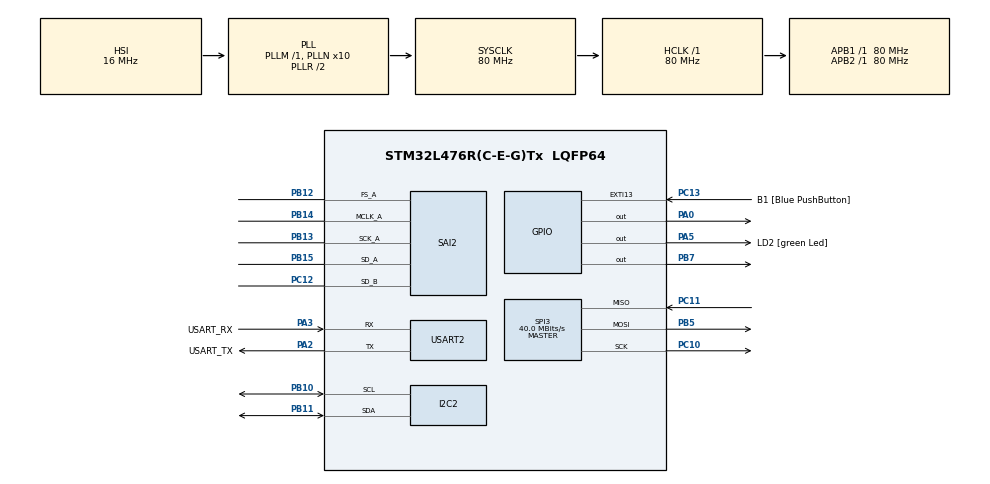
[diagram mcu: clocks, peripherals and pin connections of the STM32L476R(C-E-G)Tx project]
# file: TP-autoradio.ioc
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Dma.Request0=SAI2_A
Dma.Request1=SAI2_B
Dma.SAI2_A.0.Direction=DMA_MEMORY_TO_PERIPH
Dma.SAI2_A.0.Instance=DMA1_Channel6
Dma.SAI2_A.0.MemDataAlignment=DMA_MDATAALIGN_HALFWORD
Dma.SAI2_A.0.MemInc=DMA_MINC_ENABLE
Dma.SAI2_A.0.Mode=DMA_CIRCULAR
Dma.SAI2_A.0.PeriphDataAlignment=DMA_PDATAALIGN_WORD
Dma.SAI2_A.0.PeriphInc=DMA_PINC_DISABLE
Dma.SAI2_A.0.Priority=DMA_PRIORITY_LOW
Dma.SAI2_B.1.Direction=DMA_PERIPH_TO_MEMORY
Dma.SAI2_B.1.Instance=DMA1_Channel7
Dma.SAI2_B.1.MemDataAlignment=DMA_MDATAALIGN_HALFWORD
Dma.SAI2_B.1.MemInc=DMA_MINC_ENABLE
Dma.SAI2_B.1.Mode=DMA_CIRCULAR
Dma.SAI2_B.1.PeriphDataAlignment=DMA_PDATAALIGN_WORD
Dma.SAI2_B.1.PeriphInc=DMA_PINC_DISABLE
Dma.SAI2_B.1.Priority=DMA_PRIORITY_LOW
FREERTOS.Tasks01=defaultTask,0,128,StartDefaultTask,Default,NULL,Dynamic,NULL,NULL
FREERTOS.configUSE_NEWLIB_REENTRANT=1
I2C2.Timing=0x10D19CE4
Mcu.Family=STM32L4
Mcu.Name=STM32L476R(C-E-G)Tx
Mcu.Package=LQFP64
NVIC.DMA1_Channel6_IRQn=true\:5\:0\:false\:false\:true\:true\:false\:true\:true
NVIC.DMA1_Channel7_IRQn=true\:5\:0\:false\:false\:true\:true\:false\:true\:true
NVIC.PriorityGroup=NVIC_PRIORITYGROUP_4
NVIC.SAI2_IRQn=true\:5\:0\:false\:false\:true\:true\:true\:true\:true
NVIC.TIM1_UP_TIM16_IRQn=true\:15\:0\:false\:false\:true\:false\:false\:true\:true
NVIC.TimeBase=TIM1_UP_TIM16_IRQn
NVIC.TimeBaseIP=TIM1
NVIC.USART2_IRQn=true\:5\:0\:false\:false\:true\:true\:true\:true\:true
PA0.Signal=GPIO_Output
PA13\ (JTMS-SWDIO).GPIO_Label=TMS
PA13\ (JTMS-SWDIO).Mode=Serial_Wire
PA13\ (JTMS-SWDIO).Signal=SYS_JTMS-SWDIO
PA14\ (JTCK-SWCLK).GPIO_Label=TCK
PA14\ (JTCK-SWCLK).Mode=Serial_Wire
PA14\ (JTCK-SWCLK).Signal=SYS_JTCK-SWCLK
PA2.GPIO_Label=USART_TX
PA2.GPIO_Mode=GPIO_MODE_AF_PP
PA2.GPIO_PuPd=GPIO_NOPULL
PA2.GPIO_Speed=GPIO_SPEED_FREQ_VERY_HIGH
PA2.Mode=Asynchronous
PA2.Signal=USART2_TX
PA3.GPIO_Label=USART_RX
PA3.GPIO_Mode=GPIO_MODE_AF_PP
PA3.GPIO_PuPd=GPIO_NOPULL
PA3.GPIO_Speed=GPIO_SPEED_FREQ_VERY_HIGH
PA3.Mode=Asynchronous
PA3.Signal=USART2_RX
PA5.GPIO_Label=LD2 [green Led]
PA5.GPIO_ModeDefaultOutputPP=GPIO_MODE_OUTPUT_PP
PA5.GPIO_PuPd=GPIO_NOPULL
PA5.GPIO_Speed=GPIO_SPEED_FREQ_LOW
PA5.Signal=GPIO_Output
PB10.Mode=I2C
PB10.Signal=I2C2_SCL
PB11.Mode=I2C
PB11.Signal=I2C2_SDA
PB12.Mode=SAI_A_MasterWithClock
PB12.Signal=SAI2_FS_A
PB13.Mode=SAI_A_MasterWithClock
PB13.Signal=SAI2_SCK_A
PB14.Mode=SAI_A_MasterWithClock
PB14.Signal=SAI2_MCLK_A
PB15.Mode=SAI_A_MasterWithClock
PB15.Signal=SAI2_SD_A
PB3\ (JTDO-TRACESWO).GPIO_Label=SWO
PB3\ (JTDO-TRACESWO).Signal=SYS_JTDO-SWO
PB5.Mode=Full_Duplex_Master
PB5.Signal=SPI3_MOSI
PB7.Signal=GPIO_Output
PC10.Mode=Full_Duplex_Master
PC10.Signal=SPI3_SCK
PC11.Mode=Full_Duplex_Master
PC11.Signal=SPI3_MISO
PC12.Mode=SAI_B_SyncSlave
PC12.Signal=SAI2_SD_B
PC13.GPIO_Label=B1 [Blue PushButton]
PC13.GPIO_ModeDefaultEXTI=GPIO_MODE_IT_FALLING
PC13.GPIO_PuPd=GPIO_NOPULL
PC13.Signal=GPXTI13
PC14-OSC32_IN\ (PC14).Mode=LSE-External-Oscillator
PC14-OSC32_IN\ (PC14).Signal=RCC_OSC32_IN
PC15-OSC32_OUT\ (PC15).Mode=LSE-External-Oscillator
PC15-OSC32_OUT\ (PC15).Signal=RCC_OSC32_OUT
PH0-OSC_IN\ (PH0).Signal=RCC_OSC_IN
PH1-OSC_OUT\ (PH1).Signal=RCC_OSC_OUT
ProjectManager.HeapSize=0x200
ProjectManager.StackSize=0x400
ProjectManager.TargetToolchain=STM32CubeIDE
RCC.ADCFreq_Value=104000000
RCC.AHBFreq_Value=80000000
RCC.APB1Freq_Value=80000000
RCC.APB1TimFreq_Value=80000000
RCC.APB2Freq_Value=80000000
RCC.APB2TimFreq_Value=80000000
RCC.CortexFreq_Value=80000000
RCC.HCLKFreq_Value=80000000
RCC.HSE_VALUE=8000000
RCC.HSI_VALUE=16000000
RCC.MSI_VALUE=4000000
RCC.PLLN=10
RCC.PLLSAI1N=13
RCC.PLLSAI1P=RCC_PLLP_DIV17
RCC.PLLSourceVirtual=RCC_PLLSOURCE_HSI
RCC.PREFETCH_ENABLE=1
RCC.SYSCLKFreq_VALUE=80000000
RCC.SYSCLKSource=RCC_SYSCLKSOURCE_PLLCLK
RCC.USBFreq_Value=104000000
RCC.VCOOutputFreq_Value=160000000
SAI2.AudioFrequency-SAI_A_MasterWithClock=SAI_AUDIO_FREQUENCY_48K
SAI2.ErrorAudioFreq-SAI_A_MasterWithClock=-0.42 %
SAI2.InitProtocol-SAI_A_MasterWithClock=Enable
SAI2.InitProtocol-SAI_B_SyncSlave=Enable
SAI2.Instance-SAI_A_MasterWithClock=SAI$Index_Block_A
SAI2.Instance-SAI_B_SyncSlave=SAI$Index_Block_B
SAI2.MClockEnable-SAI_A_MasterWithClock=SAI_MASTERCLOCK_ENABLE
SAI2.RealAudioFreq-SAI_A_MasterWithClock=47.794 KHz
SAI2.VirtualMode-SAI_A_MasterWithClock=VM_MASTER
SAI2.VirtualMode-SAI_B_SyncSlave=VM_SLAVE
SAI2.VirtualProtocol-SAI_A_BASIC=VM_BASIC_PROTOCOL
SAI2.VirtualProtocol-SAI_B_BASIC=VM_BASIC_PROTOCOL
SPI3.BaudRatePrescaler=SPI_BAUDRATEPRESCALER_2
SPI3.CalculateBaudRate=40.0 MBits/s
SPI3.DataSize=SPI_DATASIZE_8BIT
SPI3.Direction=SPI_DIRECTION_2LINES
SPI3.Mode=SPI_MODE_MASTER
SPI3.VirtualType=VM_MASTER
USART2.VirtualMode-Asynchronous=VM_ASYNC
VP_FREERTOS_VS_CMSIS_V1.Mode=CMSIS_V1
VP_SAI2_VP_$IpInstance_SAIA_SAI_BASIC.Mode=SAI_A_BASIC
VP_SAI2_VP_$IpInstance_SAIB_SAI_BASIC.Mode=SAI_B_BASIC
VP_SYS_VS_tim1.Mode=TIM1
board=NUCLEO-L476RG

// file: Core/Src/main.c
/* USER CODE BEGIN Header */
/**
 ******************************************************************************
 * @file           : main.c
 * @brief          : Main program body
 ******************************************************************************
 * @attention
 *
 * Copyright (c) 2024 STMicroelectronics.
 * All rights reserved.
 *
 * This software is licensed under terms that can be found in the LICENSE file
 * in the root directory of this software component.
 * If no LICENSE file comes with this software, it is provided AS-IS.
 *
 ******************************************************************************
 */
/* USER CODE END Header */
#include "main.h"
#include "cmsis_os.h"
#include "dma.h"
#include "i2c.h"
#include "sai.h"
#include "spi.h"
#include "usart.h"
#include "gpio.h"

/* USER CODE BEGIN Includes */
#include <stdio.h>
#include <stdlib.h>
#include "shell.h"
#include "drv_uart2.h"
#include "drv_led.h"
#include "sgtl5000.h"
/* USER CODE END Includes */

/* USER CODE BEGIN PD */
#define TASK_SHELL_STACK_DEPTH 512
#define TASK_SHELL_PRIORITY 1

#define NUM_LEDS 8 // Nombre de LEDs contrôlées
/* USER CODE END PD */

/* USER CODE BEGIN PV */
TaskHandle_t h_task_shell = NULL;

TaskHandle_t ChenillardTaskHandle = NULL;
volatile uint8_t chenillard_running = 0; // Flag pour le contrôle du chenillard

h_shell_t h_shell;

uint8_t dataSAI[128]="bonsoir";
/* USER CODE END PV */

void SystemClock_Config(void);
void PeriphCommonClock_Config(void);
void MX_FREERTOS_Init(void);

/* USER CODE BEGIN 0 */
int __io_putchar(int ch)
{
	HAL_UART_Transmit(&huart2, (uint8_t*)&ch, 1, HAL_MAX_DELAY);

	return ch;
}

void HAL_UART_RxCpltCallback(UART_HandleTypeDef *huart)
{
	if (huart->Instance == USART2)
	{
		shell_uart_receive_irq_cb();	// C'est la fonction qui donne le sémaphore!
	}
}

int fonction(h_shell_t * h_shell, int argc, char ** argv)
{
	int size = snprintf (h_shell->print_buffer, BUFFER_SIZE, "Je suis une fonction bidon\r\n");
	h_shell->drv.transmit(h_shell->print_buffer, size);

	return 0;
}

int addition(h_shell_t * h_shell, int argc, char ** argv)
{
	if (argc == 3)
	{
		int a, b;
		a = atoi(argv[1]);
		b = atoi(argv[2]);
		int size = snprintf (h_shell->print_buffer, BUFFER_SIZE, "%d + %d = %d\r\n", a, b, a+b);
		h_shell->drv.transmit(h_shell->print_buffer, size);

		return 0;
	}
	else
	{
		int size = snprintf (h_shell->print_buffer, BUFFER_SIZE, "Erreur, pas le bon nombre d'arguments\r\n");
		h_shell->drv.transmit(h_shell->print_buffer, size);
		return -1;
	}
}

int ledToggle(h_shell_t * h_shell, int argc, char ** argv)
{

	if (argc == 3)
	{

		int a = atoi(argv[1]);
		int b = atoi(argv[2]);
		if(a>=0 && a<=7){
			if(b==0){

				h_shell->drv.led(h_shell->led_num = a,MCPGPIOA);
			}
			if(b==1){

				h_shell->drv.led(h_shell->led_num = a,MCPGPIOB);
			}
			else{
				int size = snprintf (h_shell->print_buffer, BUFFER_SIZE, "Erreur, verifier la led ou le gpio\r\n");
				h_shell->drv.transmit(h_shell->print_buffer, size);
				return -2;
			}
		}

		return 0;
	}
	else
	{
		int size = snprintf (h_shell->print_buffer, BUFFER_SIZE, "Erreur, pas le bon nombre d'arguments\r\n");
		h_shell->drv.transmit(h_shell->print_buffer, size);
		return -1;
	}
}

int ledReset(h_shell_t * h_shell, int argc, char ** argv){
	MCP23S17_Write(MCPGPIOA, -1);
	MCP23S17_Write(MCPGPIOB, -1);
	return 0;
}

void task_chenillard(void *params) {
	h_shell_t *h_shell = (h_shell_t *)params;
	uint8_t current_led_a = 0;
	uint8_t current_led_b = 4;
	while (1) {

		h_shell->drv.led(h_shell->led_num = current_led_a,MCPGPIOA);
		h_shell->drv.led(h_shell->led_num = current_led_b,MCPGPIOB);
		current_led_a = (current_led_a + 1) % NUM_LEDS; // Passer à la LED suivante
		current_led_b = (current_led_b + 1) % NUM_LEDS;
		osDelay(200); // Délai entre deux LEDs (200 ms)
	}
}

int startchenillard(h_shell_t * h_shell, int argc, char ** argv){

	chenillard_running = 1; // Activer le chenillard
	if (ChenillardTaskHandle == NULL) {
		// Créer la tâche si elle n'existe pas
		xTaskCreate(task_chenillard, "ChenillardTask", 128,(void *)h_shell, 2, &ChenillardTaskHandle);
	}
	else{
		chenillard_running = 0;
		if (ChenillardTaskHandle != NULL) {
			vTaskDelete(ChenillardTaskHandle); // Supprimer la tâche
			ChenillardTaskHandle = NULL;
		}
	}

	return 0;
}

int sglt5000_get_CHIP_ID_val(h_shell_t * h_shell, int argc, char ** argv){
	uint8_t pData[2];
	if (HAL_I2C_Mem_Read(&hi2c2, SGTL5000_ADDR, CHIP_ID,CHIP_ID_REG_SIZE, pData, sizeof(pData), HAL_MAX_DELAY)== HAL_OK){
		int size = snprintf (h_shell->print_buffer, BUFFER_SIZE, "CHIP_ID value : %d\r\n", pData[1]);
		h_shell->drv.transmit(h_shell->print_buffer, size);
		return 0;
	}
	else{
		int size = snprintf (h_shell->print_buffer, BUFFER_SIZE, "Error\r\n");
				h_shell->drv.transmit(h_shell->print_buffer, size);

		return -1;
	}
}

void task_shell(void * unused)
{
	shell_init(&h_shell);
	shell_add(&h_shell, 'f', fonction, "Une fonction inutile");
	shell_add(&h_shell, 'a', addition, "Effectue une somme");
	shell_add(&h_shell, 'b', ledToggle, "Allumer une led");
	shell_add(&h_shell, 'c', ledReset, "Eteindre toutes les leds");
	shell_add(&h_shell, 'd',startchenillard, "Lancer chenillard/Arreter chenillard");
	shell_add(&h_shell, 'e',sglt5000_get_CHIP_ID_val, "ID Codec");
	shell_run(&h_shell);	// boucle infinie
}

/* USER CODE END 0 */

int main(void)
{

  /* MCU Configuration--------------------------------------------------------*/

  /* Reset of all peripherals, Initializes the Flash interface and the Systick. */
  HAL_Init();

  /* Configure the system clock */
  SystemClock_Config();

  /* Configure the peripherals common clocks */
  PeriphCommonClock_Config();

  /* Initialize all configured peripherals */
  MX_GPIO_Init();
  MX_DMA_Init();
  MX_USART2_UART_Init();
  MX_SPI3_Init();
  MX_I2C2_Init();
  MX_SAI2_Init();
  /* USER CODE BEGIN 2 */
	MCP23S17_Init();
	__HAL_SAI_ENABLE(&hsai_BlockA2);
	HAL_SAI_Receive_DMA(&hsai_BlockA2, dataSAI, sizeof(dataSAI));
	HAL_SAI_Transmit_DMA(&hsai_BlockA2, dataSAI, sizeof(dataSAI));

	h_shell.drv.receive = drv_uart2_receive;
	h_shell.drv.transmit = drv_uart2_transmit;
	h_shell.drv.led = drv_led;

	if (xTaskCreate(task_shell, "Shell", TASK_SHELL_STACK_DEPTH, NULL, TASK_SHELL_PRIORITY, &h_task_shell) != pdPASS)
	{
		printf("Error creating task shell\r\n");
		Error_Handler();
	}

	vTaskStartScheduler();
  /* USER CODE END 2 */

  /* Call init function for freertos objects (in cmsis_os2.c) */
  MX_FREERTOS_Init();

  /* Start scheduler */
  osKernelStart();

  /* We should never get here as control is now taken by the scheduler */

  /* Infinite loop */
	while (1)
	{

	}
}

void SystemClock_Config(void)
{
  RCC_OscInitTypeDef RCC_OscInitStruct = {0};
  RCC_ClkInitTypeDef RCC_ClkInitStruct = {0};

  /** Configure the main internal regulator output voltage
  */
  if (HAL_PWREx_ControlVoltageScaling(PWR_REGULATOR_VOLTAGE_SCALE1) != HAL_OK)
  {
    Error_Handler();
  }

  /** Initializes the RCC Oscillators according to the specified parameters
  * in the RCC_OscInitTypeDef structure.
  */
  RCC_OscInitStruct.OscillatorType = RCC_OSCILLATORTYPE_HSI;
  RCC_OscInitStruct.HSIState = RCC_HSI_ON;
  RCC_OscInitStruct.HSICalibrationValue = RCC_HSICALIBRATION_DEFAULT;
  RCC_OscInitStruct.PLL.PLLState = RCC_PLL_ON;
  RCC_OscInitStruct.PLL.PLLSource = RCC_PLLSOURCE_HSI;
  RCC_OscInitStruct.PLL.PLLM = 1;
  RCC_OscInitStruct.PLL.PLLN = 10;
  RCC_OscInitStruct.PLL.PLLP = RCC_PLLP_DIV7;
  RCC_OscInitStruct.PLL.PLLQ = RCC_PLLQ_DIV2;
  RCC_OscInitStruct.PLL.PLLR = RCC_PLLR_DIV2;
  if (HAL_RCC_OscConfig(&RCC_OscInitStruct) != HAL_OK)
  {
    Error_Handler();
  }

  /** Initializes the CPU, AHB and APB buses clocks
  */
  RCC_ClkInitStruct.ClockType = RCC_CLOCKTYPE_HCLK|RCC_CLOCKTYPE_SYSCLK
                              |RCC_CLOCKTYPE_PCLK1|RCC_CLOCKTYPE_PCLK2;
  RCC_ClkInitStruct.SYSCLKSource = RCC_SYSCLKSOURCE_PLLCLK;
  RCC_ClkInitStruct.AHBCLKDivider = RCC_SYSCLK_DIV1;
  RCC_ClkInitStruct.APB1CLKDivider = RCC_HCLK_DIV1;
  RCC_ClkInitStruct.APB2CLKDivider = RCC_HCLK_DIV1;

  if (HAL_RCC_ClockConfig(&RCC_ClkInitStruct, FLASH_LATENCY_4) != HAL_OK)
  {
    Error_Handler();
  }
}

void PeriphCommonClock_Config(void)
{
  RCC_PeriphCLKInitTypeDef PeriphClkInit = {0};

  /** Initializes the peripherals clock
  */
  PeriphClkInit.PeriphClockSelection = RCC_PERIPHCLK_SAI2;
  PeriphClkInit.Sai2ClockSelection = RCC_SAI2CLKSOURCE_PLLSAI1;
  PeriphClkInit.PLLSAI1.PLLSAI1Source = RCC_PLLSOURCE_HSI;
  PeriphClkInit.PLLSAI1.PLLSAI1M = 1;
  PeriphClkInit.PLLSAI1.PLLSAI1N = 13;
  PeriphClkInit.PLLSAI1.PLLSAI1P = RCC_PLLP_DIV17;
  PeriphClkInit.PLLSAI1.PLLSAI1Q = RCC_PLLQ_DIV2;
  PeriphClkInit.PLLSAI1.PLLSAI1R = RCC_PLLR_DIV2;
  PeriphClkInit.PLLSAI1.PLLSAI1ClockOut = RCC_PLLSAI1_SAI1CLK;
  if (HAL_RCCEx_PeriphCLKConfig(&PeriphClkInit) != HAL_OK)
  {
    Error_Handler();
  }
}

void HAL_TIM_PeriodElapsedCallback(TIM_HandleTypeDef *htim)
{
  if (htim->Instance == TIM1) {
    HAL_IncTick();
  }
}

void Error_Handler(void)
{
	__disable_irq();
	while (1)
	{
	}
}
